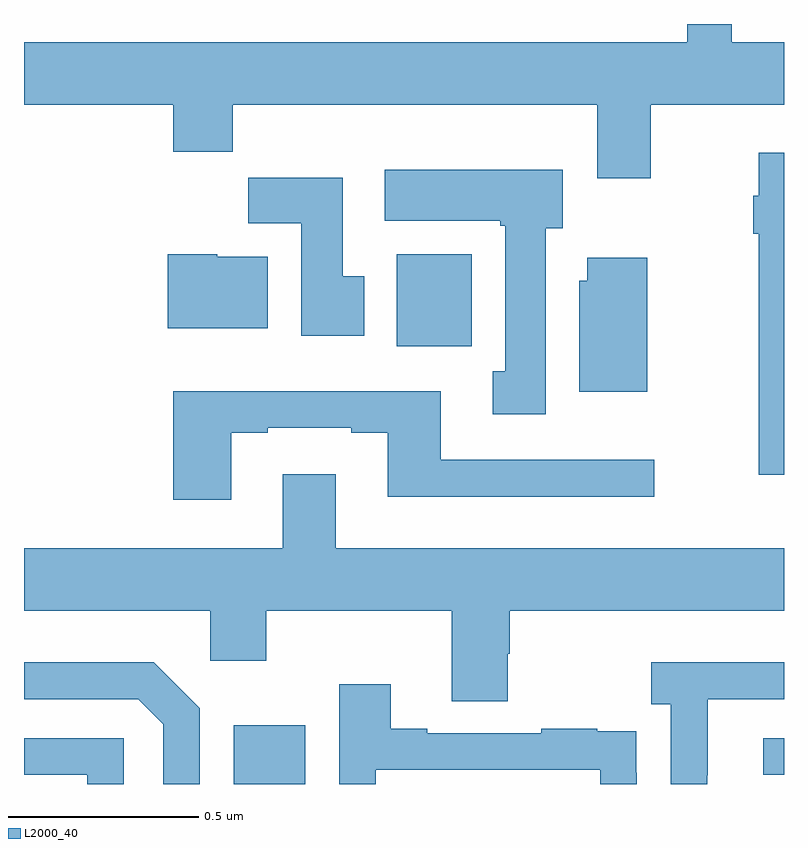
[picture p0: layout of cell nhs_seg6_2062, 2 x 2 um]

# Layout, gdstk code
import gdstk
lib = gdstk.Library(unit=1e-6, precision=1e-09)
def R(c, l, rs):  # rectangles x0, y0, x1, y1
    for r in rs: c.add(gdstk.rectangle(r[:2], r[2:], *l))
def P(c, l, *ps):  # polygons
    for p in ps: c.add(gdstk.Polygon(p, *l))
L2000_40 = (2000, 40)

nhs_seg6_2062 = lib.new_cell('nhs_seg6_2062')
R(nhs_seg6_2062, L2000_40, [(137.552,993.5,137.74,993.655), (138.945,993.525,139,993.621), (137.981,994.652,138.178,994.894)])
P(nhs_seg6_2062, L2000_40, [(138.649,995.288),(139,995.288),(139,995.452),(138.863,995.452),(138.863,995.5),(138.745,995.5),(138.745,995.452),(137,995.452),(137,995.288),(137.393,995.288),(137.393,995.164),(137.549,995.164),(137.549,995.288),(138.509,995.288),(138.509,995.094),(138.649,995.094)],
  [(139,995.161),(138.934,995.161),(138.934,995.048),(138.919,995.048),(138.919,994.948),(138.934,994.948),(138.934,994.314),(139,994.314)],
  [(138.373,994.962),(138.418,994.962),(138.418,995.116),(137.949,995.116),(137.949,994.982),(138.253,994.982),(138.253,994.969),(138.266,994.969),(138.266,994.586),(138.233,994.586),(138.233,994.473),(138.373,994.473)],
  [(137.896,994.836),(137.839,994.836),(137.839,995.095),(137.59,995.095),(137.59,994.976),(137.729,994.976),(137.729,994.68),(137.896,994.68)],
  [(137.641,994.888),(137.508,994.888),(137.508,994.894),(137.378,994.894),(137.378,994.7),(137.641,994.7)],
  [(138.64,994.885),(138.482,994.885),(138.482,994.824),(138.461,994.824),(138.461,994.532),(138.64,994.532)],
  [(137.545,994.425),(137.641,994.425),(137.641,994.437),(137.861,994.437),(137.861,994.425),(137.957,994.425),(137.957,994.256),(138.658,994.256),(138.658,994.353),(138.097,994.353),(138.097,994.534),(137.393,994.534),(137.393,994.248),(137.545,994.248)],
  [(138.273,993.843),(138.278,993.843),(138.278,993.956),(139,993.956),(139,994.12),(137.821,994.12),(137.821,994.315),(137.681,994.315),(137.681,994.12),(137,994.12),(137,993.956),(137.49,993.956),(137.49,993.825),(137.637,993.825),(137.637,993.956),(138.125,993.956),(138.125,993.718),(138.273,993.718)],
  [(137.463,993.699),(137.342,993.82),(137,993.82),(137,993.723),(137.301,993.723),(137.367,993.657),(137.367,993.5),(137.463,993.5)],
  [(138.798,993.523),(138.799,993.523),(138.799,993.723),(139,993.723),(139,993.82),(138.651,993.82),(138.651,993.71),(138.702,993.71),(138.702,993.5),(138.798,993.5)],
  [(137.925,993.537),(138.516,993.537),(138.516,993.5),(138.612,993.5),(138.612,993.53),(138.611,993.53),(138.611,993.639),(138.509,993.639),(138.509,993.646),(138.361,993.646),(138.361,993.633),(138.061,993.633),(138.061,993.646),(137.965,993.646),(137.965,993.763),(137.829,993.763),(137.829,993.5),(137.925,993.5)],
  [(137.262,993.621),(137,993.621),(137,993.525),(137.166,993.525),(137.166,993.5),(137.262,993.5)])

lib.write_gds('nhs_seg6_2062.gds')
